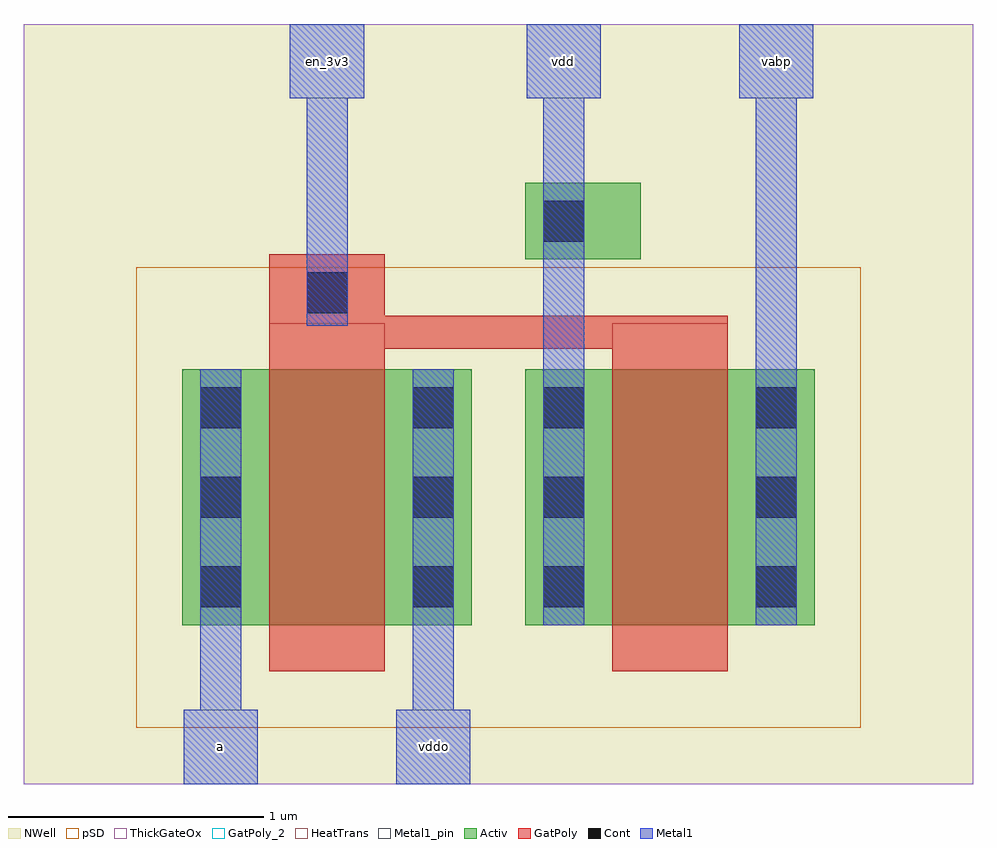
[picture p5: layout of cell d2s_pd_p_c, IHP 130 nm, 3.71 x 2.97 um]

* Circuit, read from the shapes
.subckt d2s_pd_p_c a en_3v3 vabp vdd vddo
XM1 vddo en_3v3 a vdd sg13_hv_pmos w=1u l=0.45u
XM2 vabp en_3v3 vdd vdd sg13_hv_pmos w=1u l=0.45u
.ends

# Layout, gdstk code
import gdstk
lib = gdstk.Library(unit=1e-6, precision=1e-09)
def R(c, l, rs):  # rectangles x0, y0, x1, y1
    for r in rs: c.add(gdstk.rectangle(r[:2], r[2:], *l))
def A(c, l, x, y, w, h, nx, ny, dx, dy):  # array of equal rectangles
    R(c, l, [(x+i*dx, y+j*dy, x+i*dx+w, y+j*dy+h) for i in range(nx) for j in range(ny)])
Activ = (1, 0)
GatPoly = (5, 0)
GatPoly_2 = (5, 2)
Cont = (6, 0)
Metal1 = (8, 0)
Metal1_pin = (8, 2)
pSD = (14, 0)
NWell = (31, 0)
ThickGateOx = (44, 0)
HeatTrans = (51, 0)

pmoshv_7 = lib.new_cell('pmosHV$7')
R(pmoshv_7, Activ, [(0,0,0.3,0.3), (0,0,1.13,1), (0.83,0,1.13,0.3)])
R(pmoshv_7, GatPoly, [(0.34,-0.18,0.79,1.18)])
R(pmoshv_7, GatPoly_2, [(0.34,-0.18,0.79,1.18)])
A(pmoshv_7, Cont, 0.07, 0.07, 0.16, 0.16, 1, 3, 0, 0.35)
A(pmoshv_7, Cont, 0.9, 0.07, 0.16, 0.16, 1, 3, 0, 0.35)
R(pmoshv_7, Metal1, [(0.07,0,0.23,1), (0.9,0,1.06,1)])
R(pmoshv_7, Metal1_pin, [(0.07,0,0.23,1), (0.9,0,1.06,1)])
R(pmoshv_7, pSD, [(-0.18,-0.4,1.31,1.4)])
R(pmoshv_7, NWell, [(-0.62,-0.62,1.75,1.62)])
R(pmoshv_7, ThickGateOx, [(-0.62,-0.62,1.75,1.62)])
R(pmoshv_7, HeatTrans, [(0.34,-0.18,0.79,1.18)])
pmoshv_7.add(gdstk.Label('pmosHV', (0.565,0.5), layer=63, texttype=0))
pmoshv_7.add(gdstk.Label('pmos', (0.565,0.5), layer=51, texttype=0))

d2s_pd_p_c = lib.new_cell('d2s_pd_p_c')
R(d2s_pd_p_c, Activ, [(1.96,2.05,2.41,2.35)])
R(d2s_pd_p_c, GatPoly, [(0.96,1.7,2.75,1.83), (0.96,1.7,1.41,2.07)])
R(d2s_pd_p_c, Cont, [(1.105,1.84,1.265,2), (2.03,2.12,2.19,2.28)])
R(d2s_pd_p_c, Metal1, [(0.625,0,0.915,0.29), (0.69,0,0.85,0.62), (1.455,0,1.745,0.29), (1.52,0,1.68,0.62), (2.03,1.62,2.19,2.97), (2.86,1.62,3.02,2.97), (1.105,1.79,1.265,2.97), (1.04,2.68,1.33,2.97), (1.965,2.68,2.255,2.97), (2.795,2.68,3.085,2.97)])
R(d2s_pd_p_c, Metal1_pin, [(0.625,0,0.915,0.29), (1.455,0,1.745,0.29), (1.04,2.68,1.33,2.97), (1.965,2.68,2.255,2.97), (2.795,2.68,3.085,2.97)])
R(d2s_pd_p_c, NWell, [(0,0,3.71,2.97)])
R(d2s_pd_p_c, ThickGateOx, [(0,0,3.71,2.97)])
d2s_pd_p_c.add(gdstk.Reference(pmoshv_7, (0.62,0.62)))
d2s_pd_p_c.add(gdstk.Reference(pmoshv_7, (1.96,0.62)))
d2s_pd_p_c.add(gdstk.Label('a', (0.77,0.145), layer=8, texttype=25))
d2s_pd_p_c.add(gdstk.Label('vddo', (1.6,0.145), layer=8, texttype=25))
d2s_pd_p_c.add(gdstk.Label('en_3v3', (1.185,2.825), layer=8, texttype=25))
d2s_pd_p_c.add(gdstk.Label('vdd', (2.11,2.825), layer=8, texttype=25))
d2s_pd_p_c.add(gdstk.Label('vabp', (2.94,2.825), layer=8, texttype=25))

lib.write_gds('d2s_pd_p_c.gds')
